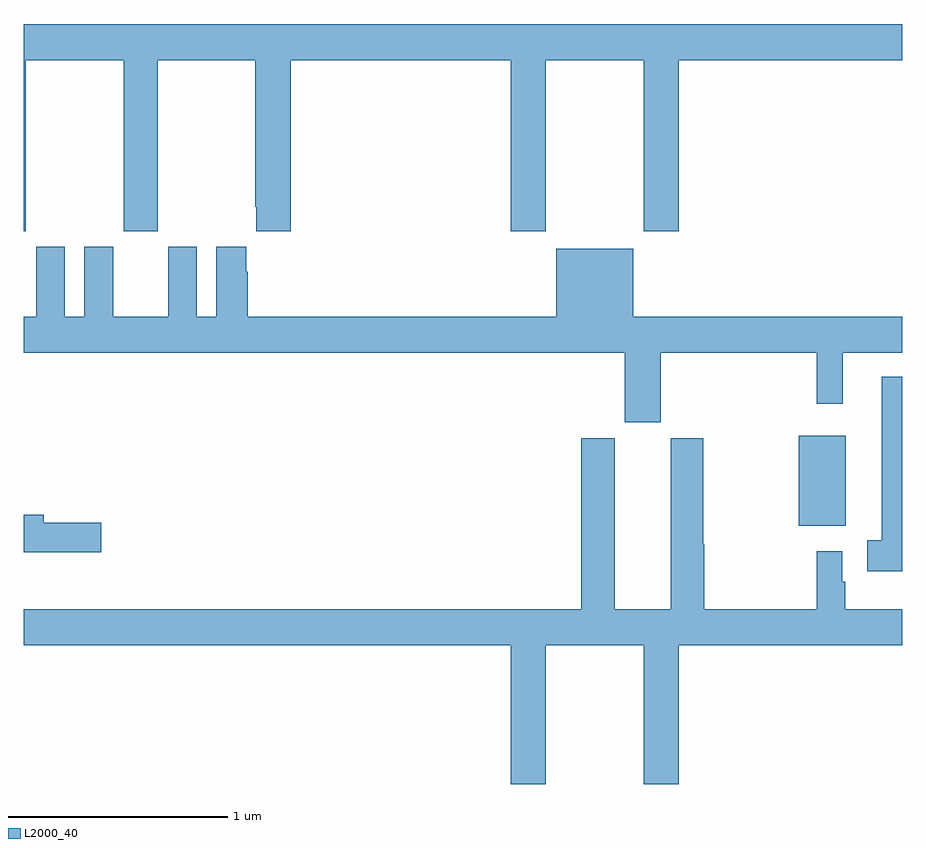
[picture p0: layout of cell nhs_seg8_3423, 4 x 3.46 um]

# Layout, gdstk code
import gdstk
lib = gdstk.Library(unit=1e-6, precision=1e-09)
def R(c, l, rs):  # rectangles x0, y0, x1, y1
    for r in rs: c.add(gdstk.rectangle(r[:2], r[2:], *l))
def P(c, l, *ps):  # polygons
    for p in ps: c.add(gdstk.Polygon(p, *l))
L2000_40 = (2000, 40)

nhs_seg8_3423 = lib.new_cell('nhs_seg8_3423')
R(nhs_seg8_3423, L2000_40, [(326.528,1085.075,326.743,1085.485)])
P(nhs_seg8_3423, L2000_40, [(323.01,1087.196),(323.455,1087.196),(323.455,1086.417),(323.61,1086.417),(323.61,1087.196),(324.055,1087.196),(324.055,1086.529),(324.059,1086.529),(324.059,1086.417),(324.215,1086.417),(324.215,1087.196),(325.217,1087.196),(325.217,1086.417),(325.377,1086.417),(325.377,1087.196),(325.822,1087.196),(325.822,1086.417),(325.982,1086.417),(325.982,1087.196),(327,1087.196),(327,1087.36),(323,1087.36),(323,1086.417),(323.01,1086.417)],
  [(325.9,1085.864),(326.611,1085.864),(326.611,1085.631),(326.729,1085.631),(326.729,1085.864),(327,1085.864),(327,1086.028),(325.774,1086.028),(325.774,1086.337),(325.424,1086.337),(325.424,1086.028),(324.02,1086.028),(324.02,1086.233),(324.013,1086.233),(324.013,1086.346),(323.876,1086.346),(323.876,1086.028),(323.788,1086.028),(323.788,1086.346),(323.657,1086.346),(323.657,1086.028),(323.407,1086.028),(323.407,1086.346),(323.276,1086.346),(323.276,1086.028),(323.188,1086.028),(323.188,1086.346),(323.057,1086.346),(323.057,1086.028),(323,1086.028),(323,1085.864),(325.736,1085.864),(325.736,1085.547),(325.9,1085.547)],
  [(327,1085.755),(326.906,1085.755),(326.906,1085.009),(326.84,1085.009),(326.84,1084.868),(327,1084.868)],
  [(325.946,1084.696),(325.69,1084.696),(325.69,1085.475),(325.538,1085.475),(325.538,1084.696),(323,1084.696),(323,1084.532),(325.217,1084.532),(325.217,1083.9),(325.377,1083.9),(325.377,1084.532),(325.822,1084.532),(325.822,1083.9),(325.982,1083.9),(325.982,1084.532),(327,1084.532),(327,1084.696),(326.74,1084.696),(326.74,1084.82),(326.727,1084.82),(326.727,1084.96),(326.611,1084.96),(326.611,1084.696),(326.099,1084.696),(326.099,1084.992),(326.094,1084.992),(326.094,1085.475),(325.946,1085.475)],
  [(323.353,1085.09),(323.092,1085.09),(323.092,1085.126),(323,1085.126),(323,1084.955),(323.353,1084.955)])

lib.write_gds('nhs_seg8_3423.gds')
